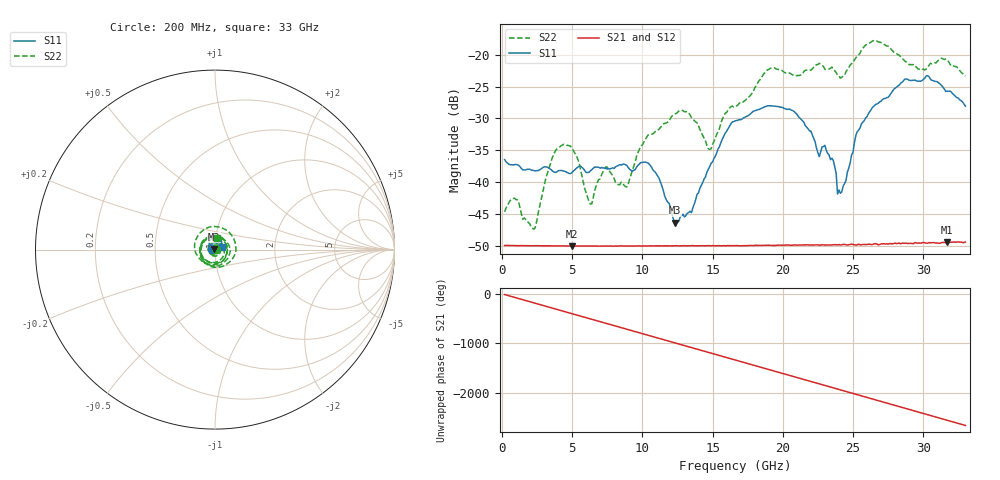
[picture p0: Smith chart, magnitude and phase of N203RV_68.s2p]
# GHZ S RI R 50
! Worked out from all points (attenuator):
!   329 points, 200 MHz to 33 GHz, reference 50 ohm
!   highest |S21| = -49.41 dB at 31.7 GHz (marker M1); lowest = -50.1 dB at 5 GHz (marker M2)
!   lowest |S11| = -46.4 dB at 12.3 GHz (marker M3), VSWR 1.01, Z = 49.6 + j0.3 ohm
!   |S11| at or under -10 dB: start of sweep to end of sweep
!   |S22| runs from -47.4 to -17.7 dB; largest |S21 - S12| = 7.2e-05
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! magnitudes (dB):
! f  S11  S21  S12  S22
! 200 MHz  -36.5  -50.0  -49.9  -44.7
! 1.1 GHz  -37.3  -50.0  -50.0  -42.8
! 2.3 GHz  -38.2  -50.0  -50.0  -47.4
! 3.7 GHz  -38.4  -50.0  -50.0  -35.6
! 5 GHz  -38.5  -50.1  -50.1  -34.7
! 5.7 GHz  -37.7  -50.1  -50.0  -39.0
! 6.3 GHz  -38.3  -50.1  -50.0  -43.5
! 7.4 GHz  -37.8  -50.1  -50.1  -37.6
! 8.9 GHz  -37.4  -50.1  -50.0  -40.8
! 11.2 GHz  -39.4  -50.0  -50.0  -31.7
! 12.3 GHz  -46.4  -50.0  -50.0  -29.3
! 14.8 GHz  -37.6  -50.0  -50.0  -34.9
! 16.6 GHz  -30.4  -50.0  -50.0  -28.2
! 19.7 GHz  -28.1  -49.9  -49.9  -22.3
! 22.1 GHz  -32.6  -49.9  -49.8  -22.2
! 23.6 GHz  -36.6  -49.9  -49.9  -22.2
! 24.1 GHz  -41.8  -49.9  -49.8  -23.7
! 25.3 GHz  -32.1  -49.9  -49.8  -20.2
! 27.6 GHz  -26.4  -49.7  -49.7  -18.8
! 30.3 GHz  -23.3  -49.6  -49.6  -22.0
! 31.7 GHz  -25.7  -49.4  -49.6  -20.8
! 33 GHz  -28.1  -49.4  -49.4  -23.3
